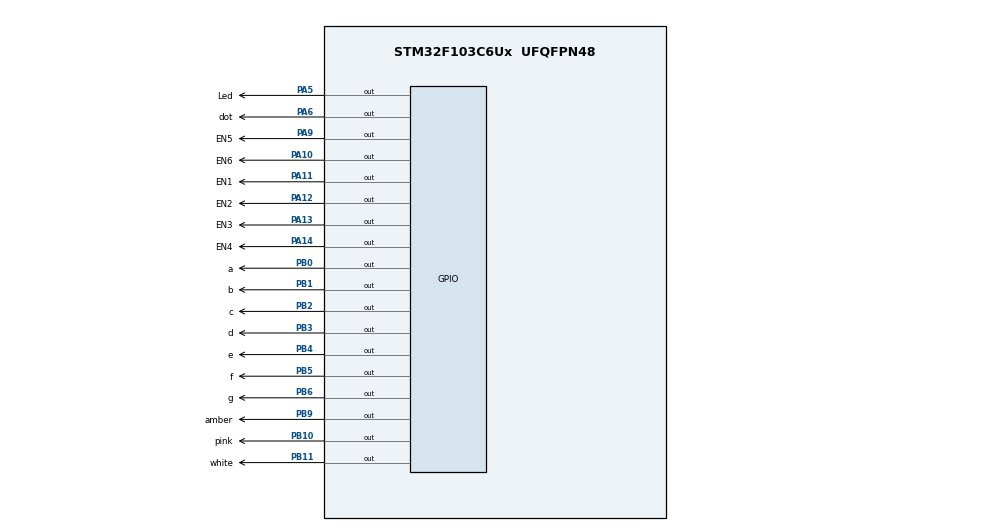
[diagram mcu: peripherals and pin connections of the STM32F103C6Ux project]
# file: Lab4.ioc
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Mcu.Family=STM32F1
Mcu.Name=STM32F103C6Ux
Mcu.Package=UFQFPN48
NVIC.PriorityGroup=NVIC_PRIORITYGROUP_4
NVIC.TIM2_IRQn=true\:0\:0\:false\:false\:true\:true\:true
PA10.GPIO_Label=EN6
PA10.Signal=GPIO_Output
PA11.GPIO_Label=EN1
PA11.Signal=GPIO_Output
PA12.GPIO_Label=EN2
PA12.Signal=GPIO_Output
PA13.GPIO_Label=EN3
PA13.Signal=GPIO_Output
PA14.GPIO_Label=EN4
PA14.Signal=GPIO_Output
PA5.GPIO_Label=Led
PA5.Signal=GPIO_Output
PA6.GPIO_Label=dot
PA6.Signal=GPIO_Output
PA9.GPIO_Label=EN5
PA9.Signal=GPIO_Output
PB0.GPIO_Label=a
PB0.Signal=GPIO_Output
PB1.GPIO_Label=b
PB1.Signal=GPIO_Output
PB10.GPIO_Label=pink
PB10.Signal=GPIO_Output
PB11.GPIO_Label=white
PB11.Signal=GPIO_Output
PB2.GPIO_Label=c
PB2.Signal=GPIO_Output
PB3.GPIO_Label=d
PB3.Signal=GPIO_Output
PB4.GPIO_Label=e
PB4.Signal=GPIO_Output
PB5.GPIO_Label=f
PB5.Signal=GPIO_Output
PB6.GPIO_Label=g
PB6.Signal=GPIO_Output
PB9.GPIO_Label=amber
PB9.Signal=GPIO_Output
ProjectManager.HeapSize=0x200
ProjectManager.StackSize=0x400
ProjectManager.TargetToolchain=STM32CubeIDE
RCC.APB1Freq_Value=8000000
RCC.APB2Freq_Value=8000000
TIM2.Period=9
TIM2.Prescaler=7999
VP_SYS_VS_ND.Mode=No_Debug
VP_TIM2_VS_ClockSourceINT.Mode=Internal
board=custom

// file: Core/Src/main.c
/* USER CODE BEGIN Header */
/**
  ******************************************************************************
  * @file           : main.c
  * @brief          : Main program body
  ******************************************************************************
  * @attention
  *
  * <h2><center>&copy; Copyright (c) 2023 STMicroelectronics.
  * All rights reserved.</center></h2>
  *
  * This software component is licensed by ST under BSD 3-Clause license,
  * the "License"; You may not use this file except in compliance with the
  * License. You may obtain a copy of the License at:
  *                        opensource.org/licenses/BSD-3-Clause
  *
  ******************************************************************************
  */
/* USER CODE END Header */
#include "main.h"

/* USER CODE BEGIN Includes */
#include "scheduler.h"
#include "led.h"
/* USER CODE END Includes */

TIM_HandleTypeDef htim2;

void SystemClock_Config(void);
static void MX_GPIO_Init(void);
static void MX_TIM2_Init(void);

int main(void)
{

  /* MCU Configuration--------------------------------------------------------*/

  /* Reset of all peripherals, Initializes the Flash interface and the Systick. */
  HAL_Init();

  /* Configure the system clock */
  SystemClock_Config();

  /* Initialize all configured peripherals */
  MX_GPIO_Init();
  MX_TIM2_Init();
  /* USER CODE BEGIN 2 */
  HAL_TIM_Base_Start_IT (&htim2 );
  SCH_init();

  /* USER CODE END 2 */

  /* Infinite loop */
  /* USER CODE BEGIN WHILE */
  offLed();
  SCH_Add_Task(dot_blink, 0, 50);
  SCH_Add_Task(LedBlinking, 50, 100);
  SCH_Add_Task(amber_led, 0, 150);
  SCH_Add_Task(pink_led, 0, 200);
  SCH_Add_Task(white_led, 250, 0);  //oneshot task
  SCH_Add_Task(time_run, 0, 100);
  SCH_Add_Task(LEDScanning, 0, 1);
 // SCH_Add_Task(LEDScanningSec, 0, 1);
  while (1)
  {
    /* USER CODE END WHILE */

    /* USER CODE BEGIN 3 */
	  SCH_Dispatch_Tasks();
  }
  /* USER CODE END 3 */
}

void SystemClock_Config(void)
{
  RCC_OscInitTypeDef RCC_OscInitStruct = {0};
  RCC_ClkInitTypeDef RCC_ClkInitStruct = {0};

  /** Initializes the RCC Oscillators according to the specified parameters
  * in the RCC_OscInitTypeDef structure.
  */
  RCC_OscInitStruct.OscillatorType = RCC_OSCILLATORTYPE_HSI;
  RCC_OscInitStruct.HSIState = RCC_HSI_ON;
  RCC_OscInitStruct.HSICalibrationValue = RCC_HSICALIBRATION_DEFAULT;
  RCC_OscInitStruct.PLL.PLLState = RCC_PLL_NONE;
  if (HAL_RCC_OscConfig(&RCC_OscInitStruct) != HAL_OK)
  {
    Error_Handler();
  }
  /** Initializes the CPU, AHB and APB buses clocks
  */
  RCC_ClkInitStruct.ClockType = RCC_CLOCKTYPE_HCLK|RCC_CLOCKTYPE_SYSCLK
                              |RCC_CLOCKTYPE_PCLK1|RCC_CLOCKTYPE_PCLK2;
  RCC_ClkInitStruct.SYSCLKSource = RCC_SYSCLKSOURCE_HSI;
  RCC_ClkInitStruct.AHBCLKDivider = RCC_SYSCLK_DIV1;
  RCC_ClkInitStruct.APB1CLKDivider = RCC_HCLK_DIV1;
  RCC_ClkInitStruct.APB2CLKDivider = RCC_HCLK_DIV1;

  if (HAL_RCC_ClockConfig(&RCC_ClkInitStruct, FLASH_LATENCY_0) != HAL_OK)
  {
    Error_Handler();
  }
}

static void MX_TIM2_Init(void)
{

  TIM_ClockConfigTypeDef sClockSourceConfig = {0};
  TIM_MasterConfigTypeDef sMasterConfig = {0};

  htim2.Instance = TIM2;
  htim2.Init.Prescaler = 7999;
  htim2.Init.CounterMode = TIM_COUNTERMODE_UP;
  htim2.Init.Period = 9;
  htim2.Init.ClockDivision = TIM_CLOCKDIVISION_DIV1;
  htim2.Init.AutoReloadPreload = TIM_AUTORELOAD_PRELOAD_DISABLE;
  if (HAL_TIM_Base_Init(&htim2) != HAL_OK)
  {
    Error_Handler();
  }
  sClockSourceConfig.ClockSource = TIM_CLOCKSOURCE_INTERNAL;
  if (HAL_TIM_ConfigClockSource(&htim2, &sClockSourceConfig) != HAL_OK)
  {
    Error_Handler();
  }
  sMasterConfig.MasterOutputTrigger = TIM_TRGO_RESET;
  sMasterConfig.MasterSlaveMode = TIM_MASTERSLAVEMODE_DISABLE;
  if (HAL_TIMEx_MasterConfigSynchronization(&htim2, &sMasterConfig) != HAL_OK)
  {
    Error_Handler();
  }

}

static void MX_GPIO_Init(void)
{
  GPIO_InitTypeDef GPIO_InitStruct = {0};

  /* GPIO Ports Clock Enable */
  __HAL_RCC_GPIOA_CLK_ENABLE();
  __HAL_RCC_GPIOB_CLK_ENABLE();

  /*Configure GPIO pin Output Level */
  HAL_GPIO_WritePin(GPIOA, Led_Pin|dot_Pin|EN5_Pin|EN6_Pin
                          |EN1_Pin|EN2_Pin|EN3_Pin|EN4_Pin, GPIO_PIN_RESET);

  /*Configure GPIO pin Output Level */
  HAL_GPIO_WritePin(GPIOB, a_Pin|b_Pin|c_Pin|pink_Pin
                          |white_Pin|d_Pin|e_Pin|f_Pin
                          |g_Pin|amber_Pin, GPIO_PIN_RESET);

  /*Configure GPIO pins : Led_Pin dot_Pin EN5_Pin EN6_Pin
                           EN1_Pin EN2_Pin EN3_Pin EN4_Pin */
  GPIO_InitStruct.Pin = Led_Pin|dot_Pin|EN5_Pin|EN6_Pin
                          |EN1_Pin|EN2_Pin|EN3_Pin|EN4_Pin;
  GPIO_InitStruct.Mode = GPIO_MODE_OUTPUT_PP;
  GPIO_InitStruct.Pull = GPIO_NOPULL;
  GPIO_InitStruct.Speed = GPIO_SPEED_FREQ_LOW;
  HAL_GPIO_Init(GPIOA, &GPIO_InitStruct);

  /*Configure GPIO pins : a_Pin b_Pin c_Pin pink_Pin
                           white_Pin d_Pin e_Pin f_Pin
                           g_Pin amber_Pin */
  GPIO_InitStruct.Pin = a_Pin|b_Pin|c_Pin|pink_Pin
                          |white_Pin|d_Pin|e_Pin|f_Pin
                          |g_Pin|amber_Pin;
  GPIO_InitStruct.Mode = GPIO_MODE_OUTPUT_PP;
  GPIO_InitStruct.Pull = GPIO_NOPULL;
  GPIO_InitStruct.Speed = GPIO_SPEED_FREQ_LOW;
  HAL_GPIO_Init(GPIOB, &GPIO_InitStruct);

}

/* USER CODE BEGIN 4 */
void HAL_TIM_PeriodElapsedCallback ( TIM_HandleTypeDef * htim ){
	SCH_Update();
	//timer_run();
}
/* USER CODE END 4 */

void Error_Handler(void)
{
  __disable_irq();
  while (1)
  {
  }
}

/************************ (C) COPYRIGHT STMicroelectronics *****END OF FILE****/
